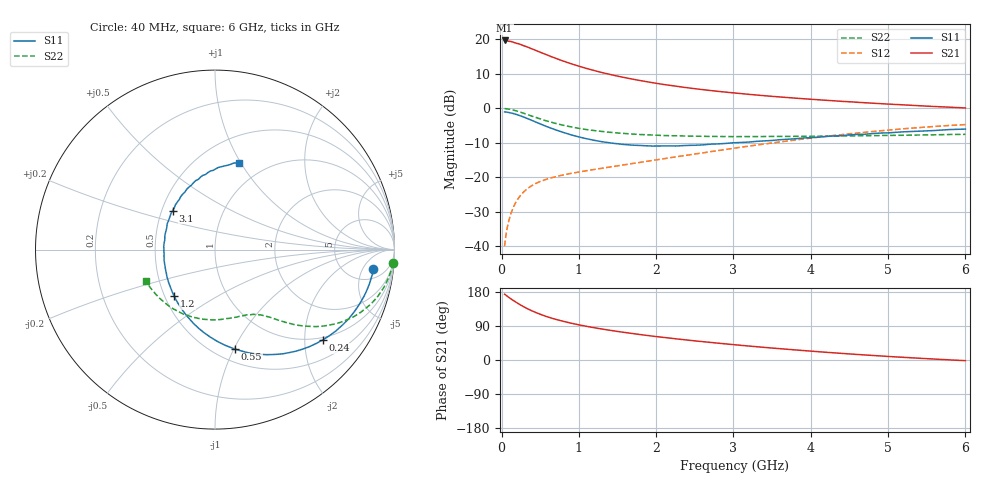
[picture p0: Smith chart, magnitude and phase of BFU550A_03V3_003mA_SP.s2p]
! Filename:  P:\Prog\Test\Noise\ATS_data\Testdata_Net\03 Spar\BFU550A_APG2013_35_C05_03p3V_003mA_SP_CM01_D.s2p
! Date/Time: Tue 16/Apr/2013 15:10:18
! BFU550A_APG2013_35_C05_03p3V_1to35mA_SP_CM01_Bias3_R.s2p
! MDIF S-parameter v. bias file
! BFU530A_APG2013_33_A09_08p0V_015mA_SP_CM01
! Date/time Mon Apr 15 14:22:32 2013
! VAR V_out= 3.3000
! VAR I_out= 3.0000
! VAR V_in= 0.8103
! VAR I_in= 0.0320
! Device data file deembeded for feedlines and parallel
! Original file: \03 Spar\BFU550A_APG2013_35_C05_03p3V_003mA_SP_CM01_R.s2p
! Feed-files: PR017V01_150413_Feed1.s2p, PR017V01_150413_Feed2.s2p
! Parallel-file: PR017V01_150413_Par.s2p
# MHz S MA R 50
!  Freq-MHz  S11-mag  S11-arg  S21-mag  S21-arg  S12-mag  S12-arg  S22-mag  S22-arg
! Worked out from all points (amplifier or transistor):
!   98 points, 40 MHz to 6 GHz, reference 50 ohm
!   highest |S21| = 19.7 dB at 40 MHz (marker M1)
!   |S21| within 3 dB of that: start of sweep to 455 MHz
!   unconditionally stable (mu >= 1): 1.858 GHz to 2.794 GHz
!   at 300 MHz: K = 0.28, MSG = 21.0 dB, |S12| = -24.0 dB
!   at 1.6 GHz: K = 0.96, MSG = 12.6 dB, |S12| = -16.3 dB
!   at 6 GHz: K = 0.88, MSG = 2.4 dB, |S12| = -4.7 dB
!   S11 on the Smith chart (normalised r, x): 40 MHz: 8, -9; 240 MHz: 0.94, -2.44; 550 MHz: 0.62, -1.01; 1.2 GHz: 0.56, -0.33; 3.1 GHz: 0.57, +0.28; 6 GHz: 0.76, +0.98
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40  0.8895 -7.0  9.683 173.7  0.01003 86.1  0.9933 -4.3
80  0.8778 -14.1  9.52 167.4  0.02001 81.8  0.9819 -8.6
120  0.8598 -20.9  9.361 161.6  0.02934 78.0  0.964 -12.6
140  0.8493 -24.2  9.234 158.8  0.03378 76.2  0.9524 -14.6
180  0.8252 -30.6  8.905 153.4  0.04233 72.7  0.9272 -18.3
240  0.783 -40.0  8.531 145.9  0.0536 68.3  0.885 -23.1
320  0.7237 -51.4  7.904 137.0  0.06627 63.4  0.8252 -28.7
360  0.6945 -56.6  7.575 133.0  0.07173 61.3  0.7969 -31.0
440  0.6364 -66.5  6.968 125.6  0.0811 58.0  0.7422 -34.9
550  0.565 -78.8  6.216 116.9  0.09112 54.7  0.6751 -39.3
650  0.5125 -88.4  5.6 110.4  0.09892 52.8  0.6281 -42.2
750  0.4679 -97.3  5.083 104.6  0.1053 51.7  0.5872 -44.5
900  0.4134 -109.8  4.451 97.2  0.1142 50.8  0.5403 -47.4
1050  0.3741 -120.9  3.945 90.8  0.1221 50.9  0.5033 -49.6
1200  0.3441 -131.5  3.542 85.2  0.1301 51.3  0.4769 -51.7
1550  0.3022 -153.6  2.865 73.9  0.1498 53.0  0.436 -56.3
2050  0.2847 179.3  2.268 60.7  0.1825 55.4  0.4063 -63.5
2500  0.2919 159.2  1.933 50.5  0.2177 56.3  0.3956 -71.2
3100  0.3207 137.4  1.64 38.6  0.2739 55.7  0.3898 -83.0
4100  0.3824 110.1  1.334 21.9  0.3822 49.7  0.3951 -106.0
5200  0.4578 87.8  1.126 7.0  0.5067 38.4  0.4075 -133.7
6000  0.5009 74.5  1.015 -1.7  0.5829 28.6  0.4205 -155.3
